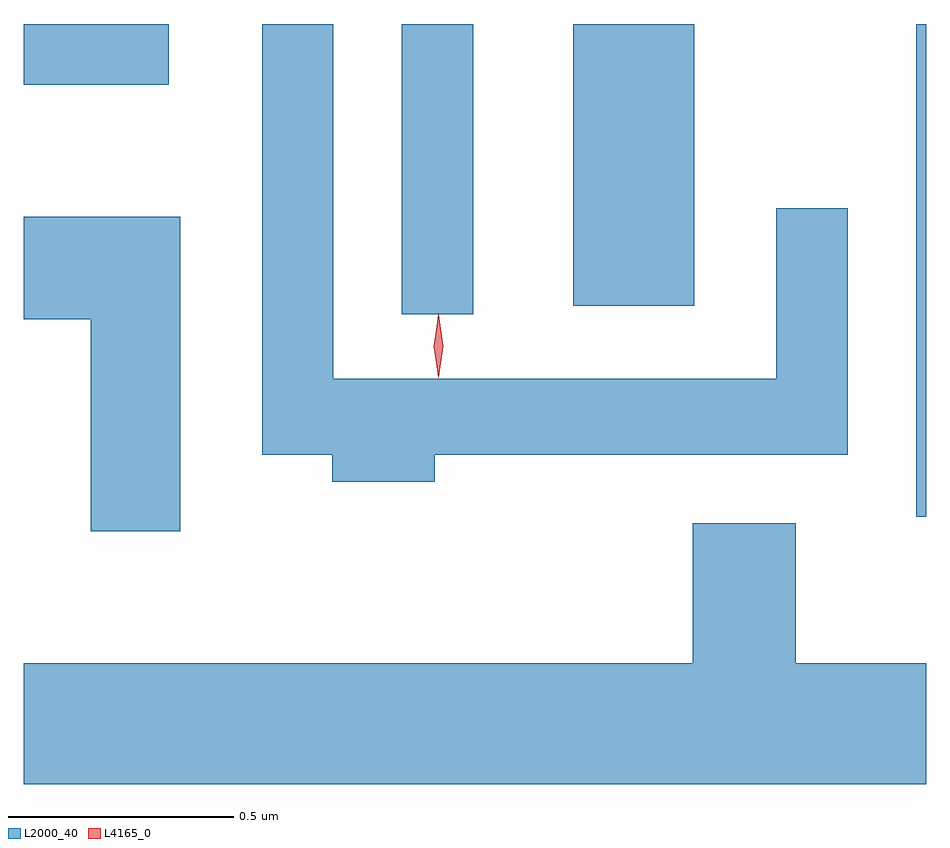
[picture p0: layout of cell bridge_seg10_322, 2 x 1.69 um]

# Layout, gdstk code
import gdstk
lib = gdstk.Library(unit=1e-6, precision=1e-09)
def R(c, l, rs):  # rectangles x0, y0, x1, y1
    for r in rs: c.add(gdstk.rectangle(r[:2], r[2:], *l))
def P(c, l, *ps):  # polygons
    for p in ps: c.add(gdstk.Polygon(p, *l))
L2000_40 = (2000, 40)
L4165_0 = (4165, 0)

bridge_seg10_322 = lib.new_cell('bridge_seg10_322')
R(bridge_seg10_322, L2000_40, [(1421.476,2170.008,1421.498,2171.101), (1420.336,2170.458,1420.494,2171.101), (1420.716,2170.476,1420.984,2171.101), (1419.498,2170.966,1419.819,2171.101)])
P(bridge_seg10_322, L2000_40, [(1420.409,2170.146),(1421.324,2170.146),(1421.324,2170.693),(1421.166,2170.693),(1421.166,2170.314),(1420.184,2170.314),(1420.184,2171.101),(1420.026,2171.101),(1420.026,2170.146),(1420.181,2170.146),(1420.181,2170.086),(1420.409,2170.086)],
  [(1419.844,2170.674),(1419.498,2170.674),(1419.498,2170.446),(1419.646,2170.446),(1419.646,2169.976),(1419.844,2169.976)],
  [(1421.498,2169.684),(1421.209,2169.684),(1421.209,2169.994),(1420.981,2169.994),(1420.981,2169.684),(1419.498,2169.684),(1419.498,2169.416),(1421.498,2169.416)])
P(bridge_seg10_322, L4165_0, [(1420.418,2170.317),(1420.417,2170.318),(1420.408,2170.387),(1420.417,2170.456),(1420.418,2170.456),(1420.418,2170.456),(1420.428,2170.387),(1420.418,2170.318)],
  [(1420.416,2170.32),(1420.416,2170.32),(1420.406,2170.386),(1420.416,2170.452),(1420.416,2170.453),(1420.417,2170.452),(1420.426,2170.386),(1420.417,2170.32)])

lib.write_gds('bridge_seg10_322.gds')
